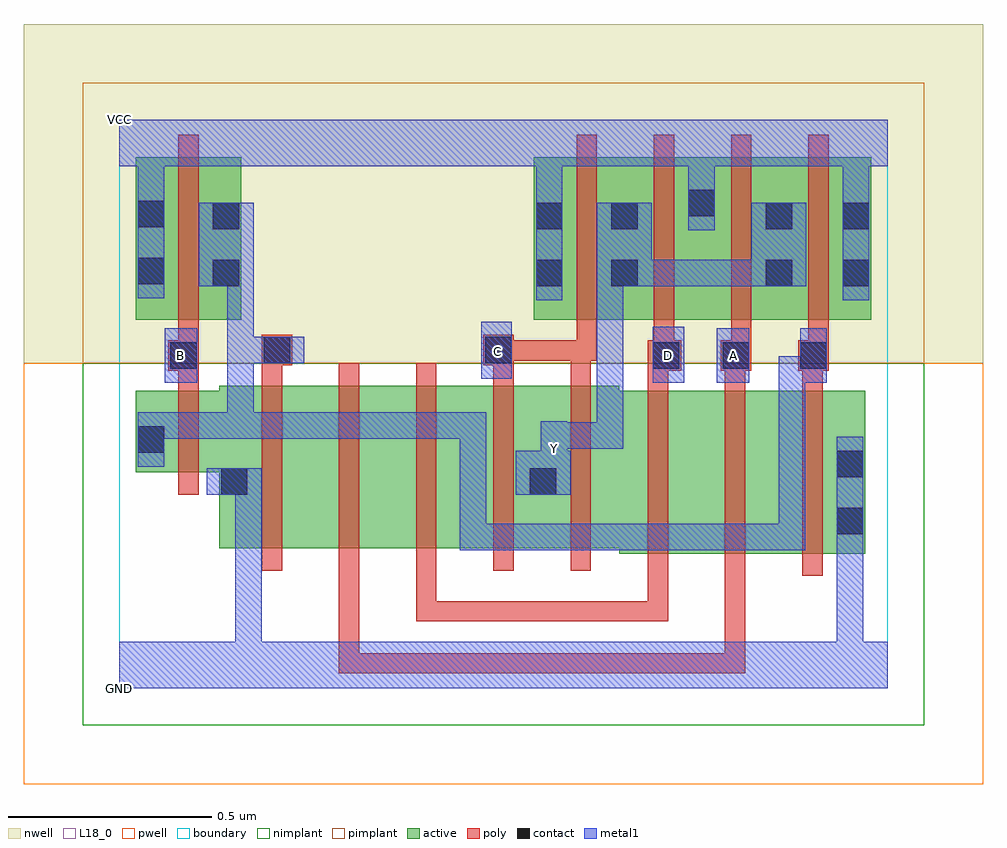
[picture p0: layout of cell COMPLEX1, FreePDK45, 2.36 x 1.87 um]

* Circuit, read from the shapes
.subckt COMPLEX1 A B C D GND VCC Y
M1 GND B n1 VSUBS nfet w=0.2u l=0.05u
M2 n2 n1 GND VSUBS nfet w=0.4u l=0.05u
M3 n3 A n2 VSUBS nfet w=0.4u l=0.05u
M4 n4 D n3 VSUBS nfet w=0.4u l=0.05u
M5 Y C n4 VSUBS nfet w=0.4u l=0.05u
M6 n5 C Y VSUBS nfet w=0.4u l=0.05u
M7 n6 D n5 VSUBS nfet w=0.4u l=0.05u
M8 n7 A n6 VSUBS nfet w=0.4u l=0.05u
M9 GND n1 n7 VSUBS nfet w=0.4u l=0.05u
M10 n1 B VCC n8 pfet w=0.4u l=0.05u
M11 Y C VCC n8 pfet w=0.4u l=0.05u
M12 VCC D Y n8 pfet w=0.4u l=0.05u
M13 Y A VCC n8 pfet w=0.4u l=0.05u
M14 VCC n1 Y n8 pfet w=0.4u l=0.05u
.ends

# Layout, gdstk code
import gdstk
lib = gdstk.Library(unit=1e-6, precision=1e-09)
def R(c, l, rs):  # rectangles x0, y0, x1, y1
    for r in rs: c.add(gdstk.rectangle(r[:2], r[2:], *l))
def A(c, l, x, y, w, h, nx, ny, dx, dy):  # array of equal rectangles
    R(c, l, [(x+i*dx, y+j*dy, x+i*dx+w, y+j*dy+h) for i in range(nx) for j in range(ny)])
active = (1, 0)
pwell = (2, 0)
nwell = (3, 0)
nimplant = (4, 0)
pimplant = (5, 0)
poly = (9, 0)
contact = (10, 0)
metal1 = (11, 0)
L18_0 = (18, 0)
boundary = (235, 0)

complex1 = lib.new_cell('COMPLEX1')
A(complex1, active, 1.205, 0.907, 0.265, 0.4, 3, 1, 0.19, 0)
R(complex1, active, [(1.23,0.332,1.42,0.732), (1.42,0.332,1.61,0.732), (1.61,0.332,1.835,0.732), (1.76,0.332,1.835,0.732), (0.245,0.345,0.47,0.745), (0.245,0.345,0.32,0.597), (0.47,0.345,0.66,0.745), (0.66,0.345,0.85,0.745), (0.85,0.345,1.08,0.745), (1.005,0.345,1.23,0.745), (1.005,0.345,1.08,0.742), (0.04,0.532,0.32,0.732), (0.04,0.532,0.115,0.732), (0.04,0.907,0.3,1.307), (0.04,0.907,0.115,1.255), (0.225,0.907,0.3,1.2), (1.02,0.907,1.095,1.307), (1.02,0.907,1.28,1.307), (1.205,0.907,1.28,1.2), (1.395,0.907,1.47,1.307), (1.585,0.907,1.66,1.2), (1.775,0.907,1.85,1.307)])
R(complex1, pwell, [(-0.235,-0.235,2.125,0.8)])
R(complex1, nwell, [(-0.235,0.8,2.125,1.635)])
R(complex1, nimplant, [(-0.09,-0.09,1.98,0.8)])
R(complex1, pimplant, [(-0.09,0.8,1.98,1.49)])
A(complex1, poly, 1.3, 0.277, 0.05, 0.51, 3, 1, 0.19, 0)
A(complex1, poly, 0.35, 0.29, 0.05, 0.51, 5, 1, 0.19, 0)
A(complex1, poly, 1.3, 0.737, 0.05, 0.095, 3, 1, 0.19, 0)
A(complex1, poly, 1.125, 0.807, 0.05, 0.095, 4, 1, 0.19, 0)
A(complex1, poly, 1.125, 0.852, 0.05, 0.51, 4, 1, 0.19, 0)
R(complex1, poly, [(0.54,0.037,0.59,0.087), (0.54,0.037,0.59,0.087), (0.54,0.037,0.59,0.087), (0.54,0.037,0.59,0.087), (0.54,0.037,0.59,0.087), (0.54,0.037,0.812,0.087), (0.54,0.037,0.59,0.34), (0.762,0.037,0.812,0.087), (0.762,0.037,0.812,0.087), (0.762,0.037,0.812,0.087), (0.762,0.037,1.027,0.087), (0.977,0.037,1.027,0.087), (0.977,0.037,1.16,0.087), (1.11,0.037,1.16,0.087), (1.11,0.037,1.16,0.087), (1.11,0.037,1.16,0.087), (1.11,0.037,1.292,0.087), (1.242,0.037,1.292,0.087), (1.242,0.037,1.292,0.087), (1.242,0.037,1.292,0.087), (1.242,0.037,1.54,0.087), (1.49,0.037,1.54,0.327), (1.49,0.037,1.54,0.087), (1.49,0.037,1.54,0.087), (1.49,0.037,1.54,0.087), (1.49,0.037,1.54,0.087), (1.49,0.037,1.54,0.087), (0.73,0.165,0.78,0.22), (0.73,0.165,1.027,0.215), (0.977,0.165,1.027,0.215), (0.977,0.165,1.075,0.215), (1.025,0.165,1.075,0.215), (1.025,0.165,1.16,0.215), (1.11,0.165,1.16,0.215), (1.11,0.165,1.35,0.215), (1.3,0.165,1.35,0.22), (0.73,0.17,0.78,0.22), (0.73,0.17,0.78,0.22), (0.73,0.17,0.78,0.34), (1.3,0.17,1.35,0.22), (1.3,0.17,1.35,0.22), (1.3,0.17,1.35,0.327), (0.145,0.477,0.195,0.787), (0.145,0.737,0.195,0.832), (0.35,0.75,0.4,0.845), (0.92,0.75,0.97,0.845), (1.11,0.75,1.16,0.857), (0.12,0.782,0.195,0.857), (1.3,0.782,1.382,0.857), (1.48,0.782,1.555,0.857), (1.67,0.782,1.745,0.857), (0.35,0.795,0.425,0.87), (0.895,0.795,0.97,0.87), (0.145,0.807,0.195,0.902), (0.92,0.807,1.042,0.857), (0.992,0.807,1.042,0.857), (0.992,0.807,1.16,0.857), (1.11,0.807,1.175,0.857), (0.145,0.852,0.195,1.362)])
R(complex1, contact, [(1.765,0.38,1.83,0.445), (0.25,0.477,0.315,0.542), (1.01,0.477,1.075,0.542), (1.765,0.52,1.83,0.585), (0.045,0.58,0.11,0.645), (0.125,0.787,0.19,0.852), (1.312,0.787,1.377,0.852), (1.485,0.787,1.55,0.852), (1.675,0.787,1.74,0.852), (0.355,0.8,0.42,0.865), (0.9,0.8,0.965,0.865), (0.23,0.99,0.295,1.055), (1.025,0.99,1.09,1.055), (1.21,0.99,1.275,1.055), (1.59,0.99,1.655,1.055), (1.78,0.99,1.845,1.055), (0.045,0.995,0.11,1.06), (0.23,1.13,0.295,1.195), (1.025,1.13,1.09,1.195), (1.21,1.13,1.275,1.195), (1.59,1.13,1.655,1.195), (1.78,1.13,1.845,1.195), (0.045,1.135,0.11,1.2), (1.4,1.162,1.465,1.227)])
R(complex1, metal1, [(0,0,1.89,0.115), (0.285,0.05,0.35,0.115), (0.285,0.05,0.35,0.115), (0.285,0.05,0.35,0.252), (1.765,0.05,1.83,0.115), (1.765,0.05,1.83,0.115), (1.765,0.05,1.83,0.41), (0.285,0.187,0.35,0.252), (0.285,0.187,0.35,0.542), (0.837,0.34,0.902,0.405), (0.837,0.34,0.902,0.405), (0.837,0.34,0.902,0.405), (0.837,0.34,1.042,0.405), (0.837,0.34,0.902,0.68), (0.977,0.34,1.042,0.405), (0.977,0.34,1.127,0.405), (1.062,0.34,1.127,0.405), (1.062,0.34,1.282,0.405), (1.217,0.34,1.282,0.405), (1.217,0.34,1.282,0.405), (1.217,0.34,1.282,0.405), (1.217,0.34,1.282,0.405), (1.217,0.34,1.282,0.405), (1.217,0.34,1.447,0.405), (1.382,0.34,1.447,0.405), (1.382,0.34,1.602,0.405), (1.537,0.34,1.602,0.405), (1.537,0.34,1.687,0.405), (1.622,0.34,1.687,0.405), (1.622,0.34,1.687,0.817), (1.765,0.345,1.83,0.62), (1.765,0.345,1.83,0.41), (1.765,0.345,1.83,0.41), (0.215,0.477,0.35,0.542), (0.975,0.477,1.11,0.585), (1.037,0.52,1.102,0.585), (1.037,0.52,1.102,0.657), (0.045,0.545,0.11,0.68), (1.037,0.59,1.102,0.655), (1.037,0.59,1.102,0.655), (1.037,0.59,1.24,0.655), (1.175,0.59,1.24,0.655), (1.175,0.59,1.24,1.055), (0.045,0.615,0.16,0.68), (0.095,0.615,0.16,0.68), (0.095,0.615,0.33,0.68), (0.265,0.615,0.33,0.68), (0.265,0.615,0.49,0.68), (0.265,0.615,0.33,0.865), (0.425,0.615,0.49,0.68), (0.425,0.615,0.627,0.68), (0.562,0.615,0.627,0.68), (0.562,0.615,0.627,0.68), (0.562,0.615,0.627,0.68), (0.562,0.615,0.765,0.68), (0.7,0.615,0.765,0.68), (0.7,0.615,0.765,0.68), (0.7,0.615,0.765,0.68), (0.7,0.615,0.902,0.68), (0.837,0.615,0.902,0.68), (0.112,0.752,0.192,0.887), (1.312,0.752,1.39,0.89), (1.47,0.752,1.55,0.887), (1.622,0.752,1.687,0.817), (1.622,0.752,1.74,0.817), (1.675,0.752,1.74,0.887), (0.89,0.762,0.965,0.902), (0.265,0.8,0.33,0.865), (0.265,0.8,0.385,0.865), (0.265,0.8,0.33,1.055), (0.32,0.8,0.455,0.865), (1.025,0.955,1.09,1.23), (1.78,0.955,1.845,1.23), (0.045,0.96,0.11,1.235), (0.195,0.99,0.33,1.195), (1.175,0.99,1.31,1.195), (1.245,0.99,1.31,1.055), (1.245,0.99,1.31,1.055), (1.245,0.99,1.447,1.055), (1.382,0.99,1.447,1.055), (1.382,0.99,1.575,1.055), (1.51,0.99,1.575,1.055), (1.51,0.99,1.62,1.055), (1.555,0.99,1.69,1.195), (1.4,1.127,1.465,1.262), (1.025,1.165,1.09,1.35), (1.78,1.165,1.845,1.35), (0.045,1.167,0.11,1.35), (1.4,1.197,1.465,1.35), (0,1.285,1.89,1.4)])
R(complex1, L18_0, [(0,0,1.89,0.115), (0.285,0.05,0.35,0.115), (0.285,0.05,0.35,0.115), (0.285,0.05,0.35,0.252), (1.765,0.05,1.83,0.115), (1.765,0.05,1.83,0.115), (1.765,0.05,1.83,0.41), (0.285,0.187,0.35,0.252), (0.285,0.187,0.35,0.542), (1.765,0.345,1.83,0.62), (1.765,0.345,1.83,0.41), (1.765,0.345,1.83,0.41), (0.215,0.477,0.35,0.542), (0.975,0.477,1.11,0.585), (1.037,0.52,1.102,0.585), (1.037,0.52,1.102,0.657), (1.037,0.557,1.102,0.622), (1.037,0.59,1.102,0.655), (1.037,0.59,1.102,0.655), (1.037,0.59,1.24,0.655), (1.175,0.59,1.24,0.655), (1.175,0.59,1.24,1.055), (0.112,0.752,0.192,0.887), (1.312,0.752,1.39,0.89), (1.47,0.752,1.55,0.887), (0.89,0.762,0.965,0.902), (0.117,0.787,0.182,0.852), (1.317,0.787,1.382,0.852), (1.477,0.787,1.542,0.852), (0.897,0.797,0.962,0.862), (1.025,0.955,1.09,1.23), (1.78,0.955,1.845,1.23), (0.045,0.96,0.11,1.235), (1.175,0.99,1.31,1.195), (1.245,0.99,1.31,1.055), (1.245,0.99,1.31,1.055), (1.245,0.99,1.447,1.055), (1.382,0.99,1.447,1.055), (1.382,0.99,1.575,1.055), (1.51,0.99,1.575,1.055), (1.51,0.99,1.62,1.055), (1.555,0.99,1.69,1.195), (1.4,1.127,1.465,1.262), (1.025,1.165,1.09,1.35), (1.78,1.165,1.845,1.35), (0.045,1.167,0.11,1.35), (1.4,1.197,1.465,1.35), (0,1.285,1.89,1.4)])
R(complex1, boundary, [(0,0,1.89,1.4)])
complex1.add(gdstk.Label('A', (1.51,0.82), layer=11, texttype=0))
complex1.add(gdstk.Label('B', (0.15,0.82), layer=11, texttype=0))
complex1.add(gdstk.Label('C', (0.93,0.83), layer=11, texttype=0))
complex1.add(gdstk.Label('D', (1.35,0.82), layer=11, texttype=0))
complex1.add(gdstk.Label('Y', (1.07,0.59), layer=11, texttype=0))
complex1.add(gdstk.Label('VCC', (0,1.4), layer=11, texttype=0))
complex1.add(gdstk.Label('GND', (0,0), layer=11, texttype=0))

lib.write_gds('COMPLEX1.gds')
